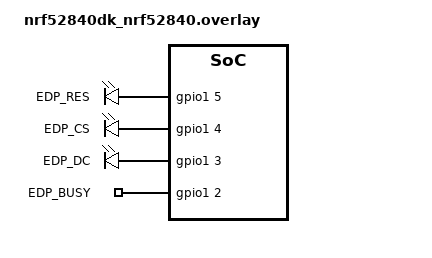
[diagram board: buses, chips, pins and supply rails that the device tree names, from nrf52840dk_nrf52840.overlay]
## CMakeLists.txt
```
#
# Copyright (c) 2021 Nordic Semiconductor ASA
#
# SPDX-License-Identifier: LicenseRef-Nordic-5-Clause
#

cmake_minimum_required(VERSION 3.20.0)

# Set Kconfig root files that will be processed as a first Kconfig for used child images.
set(mcuboot_KCONFIG_ROOT "\\\${ZEPHYR_CONNECTEDHOMEIP_MODULE_DIR}/config/nrfconnect/chip-module/Kconfig.mcuboot.root")
set(multiprotocol_rpmsg_KCONFIG_ROOT "\\\${ZEPHYR_CONNECTEDHOMEIP_MODULE_DIR}/config/nrfconnect/chip-module/Kconfig.multiprotocol_rpmsg.root")
set(hci_rpmsg_KCONFIG_ROOT "\\\${ZEPHYR_CONNECTEDHOMEIP_MODULE_DIR}/config/nrfconnect/chip-module/Kconfig.hci_rpmsg.root")

# For prj.conf the CONF_FILE is empty. In other case extract the exact file name from the path string.
if(CONF_FILE)
    get_filename_component(CONFIG_FILE_NAME ${CONF_FILE} NAME)
endif()

if(NOT "${CONFIG_FILE_NAME}" STREQUAL "prj_no_dfu.conf")
    set(PM_STATIC_YML_FILE ${CMAKE_CURRENT_SOURCE_DIR}/configuration/${BOARD}/pm_static_dfu.yml)
endif()

find_package(Zephyr HINTS $ENV{ZEPHYR_BASE})

project(matter_co2sensor)

set(COMMON_ROOT ${ZEPHYR_NRF_MODULE_DIR}/samples/matter/common)
set(NLIO_ROOT ${ZEPHYR_CONNECTEDHOMEIP_MODULE_DIR}/third_party/nlio/repo)
include(${ZEPHYR_CONNECTEDHOMEIP_MODULE_DIR}/config/nrfconnect/app/enable-gnu-std.cmake)
include(${ZEPHYR_CONNECTEDHOMEIP_MODULE_DIR}/src/app/chip_data_model.cmake)

# NORDIC SDK APP START
target_include_directories(app PRIVATE
    src
    ${COMMON_ROOT}/src
    ${NLIO_ROOT}/include
    ${ZEPHYR_CONNECTEDHOMEIP_MODULE_DIR}/zzz_generated/app-common
)

target_sources(app PRIVATE
    src/app_task.cpp
    src/main.cpp
    src/zap-generated/IMClusterCommandHandler.cpp
    src/zap-generated/callback-stub.cpp
    src/scd40.cpp
    src/fram.cpp
    src/EPD/hV_Board.cpp
    src/EPD/hV_Colours565.cpp
    src/EPD/hV_Font_Terminal.cpp
    src/EPD/hV_Screen_Buffer.cpp
    src/EPD/hV_Utilities_Common.cpp
    src/EPD/hV_Utilities_PDLS.cpp
    src/EPD/Screen_EPD_EXT3.cpp
    src/EPD/Arduino_Own.cpp
    ${COMMON_ROOT}/src/led_widget.cpp
)

if(CONFIG_CHIP_OTA_REQUESTOR)
    target_sources(app PRIVATE ${COMMON_ROOT}/src/ota_util.cpp)
endif()

chip_configure_data_model(app
    INCLUDE_SERVER
    BYPASS_IDL
    GEN_DIR src/zap-generated
    ZAP_FILE ${CMAKE_CURRENT_SOURCE_DIR}/src/template.zap
)
# NORDIC SDK APP END
```

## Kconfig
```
#
# Copyright (c) 2022 Nordic Semiconductor
#
# SPDX-License-Identifier: LicenseRef-Nordic-5-Clause
#
mainmenu "Matter nRF Connect Template Example Application"

# Sample configuration used for Thread networking
if NET_L2_OPENTHREAD

choice OPENTHREAD_NORDIC_LIBRARY_CONFIGURATION
	default OPENTHREAD_NORDIC_LIBRARY_MTD
endchoice

choice OPENTHREAD_DEVICE_TYPE
	default OPENTHREAD_MTD
endchoice

endif # NET_L2_OPENTHREAD

source "${ZEPHYR_CONNECTEDHOMEIP_MODULE_DIR}/config/nrfconnect/chip-module/Kconfig.features"
source "${ZEPHYR_CONNECTEDHOMEIP_MODULE_DIR}/config/nrfconnect/chip-module/Kconfig.defaults"
source "Kconfig.zephyr"
```

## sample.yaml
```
sample:
  description: Matter Template sample
  name: Matter Template
tests:
  sample.matter.template.debug:
    build_only: true
    integration_platforms:
      - nrf52840dk_nrf52840
      - nrf5340dk_nrf5340_cpuapp
      - nrf7002dk_nrf5340_cpuapp
    platform_allow: nrf52840dk_nrf52840 nrf5340dk_nrf5340_cpuapp nrf7002dk_nrf5340_cpuapp
  sample.matter.template.release:
    build_only: true
    extra_args: CONF_FILE=prj_release.conf
    integration_platforms:
      - nrf52840dk_nrf52840
      - nrf5340dk_nrf5340_cpuapp
      - nrf7002dk_nrf5340_cpuapp
    platform_allow: nrf52840dk_nrf52840 nrf5340dk_nrf5340_cpuapp nrf7002dk_nrf5340_cpuapp
```

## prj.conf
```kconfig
#
# Copyright (c) 2021 Nordic Semiconductor ASA
#
# SPDX-License-Identifier: LicenseRef-Nordic-5-Clause
#

# This sample uses Kconfig.defaults to set options common for all
# samples. This file should contain only options specific for this sample
# or overrides of default values.

# Enable CHIP
CONFIG_CHIP=y
CONFIG_CHIP_ENABLE_PAIRING_AUTOSTART=y
CONFIG_CHIP_PROJECT_CONFIG="src/chip_project_config.h"
# 32768 == 0x8000 (example Product ID added temporaly,
# but it must be changed with proper PID from the list:
# https://github.com/project-chip/connectedhomeip/blob/482e6fd03196a6de45465a90003947ef4b86e0b1/docs/examples/discussion/PID_allocation_for_example_apps.md)
CONFIG_CHIP_DEVICE_PRODUCT_ID=32768
CONFIG_STD_CPP14=y

# Add support for LEDs and buttons on Nordic development kits
CONFIG_DK_LIBRARY=y

# Bluetooth Low Energy configuration
CONFIG_BT_DEVICE_NAME="MatterTemplate"

# Other settings
CONFIG_THREAD_NAME=y
CONFIG_MPU_STACK_GUARD=y
CONFIG_RESET_ON_FATAL_ERROR=n
CONFIG_CHIP_LIB_SHELL=y

# Disable NFC commissioning
CONFIG_CHIP_NFC_COMMISSIONING=n

# Reduce application size
CONFIG_USE_SEGGER_RTT=n

# Enable Factory Data feature
CONFIG_CHIP_FACTORY_DATA=y
CONFIG_CHIP_FACTORY_DATA_BUILD=y
CONFIG_CPLUSPLUS=y
CONFIG_LIB_CPLUSPLUS=y
CONFIG_NEWLIB_LIBC=y
CONFIG_I2C=y
CONFIG_SPI=y
CONFIG_GPIO=y
```

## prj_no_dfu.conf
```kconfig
#
# Copyright (c) 2021 Nordic Semiconductor ASA
#
# SPDX-License-Identifier: LicenseRef-Nordic-5-Clause
#

# This sample uses Kconfig.defaults to set options common for all
# samples. This file should contain only options specific for this sample
# or overrides of default values.

# Enable CHIP
CONFIG_CHIP=y
CONFIG_CHIP_ENABLE_PAIRING_AUTOSTART=y
CONFIG_CHIP_PROJECT_CONFIG="src/chip_project_config.h"
# 32768 == 0x8000 (example Product ID added temporaly,
# but it must be changed with proper PID from the list:
# https://github.com/project-chip/connectedhomeip/blob/482e6fd03196a6de45465a90003947ef4b86e0b1/docs/examples/discussion/PID_allocation_for_example_apps.md)
CONFIG_CHIP_DEVICE_PRODUCT_ID=32768
CONFIG_STD_CPP14=y

# Add support for LEDs and buttons on Nordic development kits
CONFIG_DK_LIBRARY=y

# Bluetooth Low Energy configuration
CONFIG_BT_DEVICE_NAME="MatterTemplate"

# Other settings
CONFIG_THREAD_NAME=y
CONFIG_MPU_STACK_GUARD=y
CONFIG_RESET_ON_FATAL_ERROR=n
CONFIG_CHIP_LIB_SHELL=y

# Disable NFC commissioning
CONFIG_CHIP_NFC_COMMISSIONING=n

# Disable Matter OTA DFU
CONFIG_CHIP_OTA_REQUESTOR=n

# Disable QSPI NOR
CONFIG_CHIP_QSPI_NOR=n

# Reduce application size
CONFIG_USE_SEGGER_RTT=n
```

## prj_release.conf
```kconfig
#
# Copyright (c) 2021 Nordic Semiconductor ASA
#
# SPDX-License-Identifier: LicenseRef-Nordic-5-Clause
#

# This sample uses Kconfig.defaults to set options common for all
# samples. This file should contain only options specific for this sample
# or overrides of default values.

# Enable CHIP
CONFIG_CHIP=y
CONFIG_CHIP_ENABLE_PAIRING_AUTOSTART=y
CONFIG_CHIP_PROJECT_CONFIG="src/chip_project_config.h"
# 32768 == 0x8000 (example Product ID added temporaly,
# but it must be changed with proper PID from the list:
# https://github.com/project-chip/connectedhomeip/blob/482e6fd03196a6de45465a90003947ef4b86e0b1/docs/examples/discussion/PID_allocation_for_example_apps.md)
CONFIG_CHIP_DEVICE_PRODUCT_ID=32768
CONFIG_STD_CPP14=y

# Add support for LEDs and buttons on Nordic development kits
CONFIG_DK_LIBRARY=y

# Bluetooth Low Energy configuration
CONFIG_BT_DEVICE_NAME="MatterTemplate"

# Enable system reset on fatal error
CONFIG_RESET_ON_FATAL_ERROR=y

# Disable all debug features
CONFIG_USE_SEGGER_RTT=n
CONFIG_SHELL=n
CONFIG_OPENTHREAD_SHELL=n
CONFIG_CONSOLE=n
CONFIG_UART_CONSOLE=n
CONFIG_SERIAL=n
CONFIG_LOG=n
CONFIG_LOG_MODE_MINIMAL=n
CONFIG_ASSERT_VERBOSE=n
CONFIG_ASSERT_NO_FILE_INFO=y
CONFIG_PRINTK=n
CONFIG_PRINTK_SYNC=n
CONFIG_THREAD_NAME=n
CONFIG_BOOT_BANNER=n

# Disable NFC commissioning
CONFIG_CHIP_NFC_COMMISSIONING=n

# Enable Factory Data feature
CONFIG_CHIP_FACTORY_DATA=y
CONFIG_CHIP_FACTORY_DATA_BUILD=y
```

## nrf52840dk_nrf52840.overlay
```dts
// To get started, press Ctrl+Space to bring up the completion menu and view the available nodes.

// You can also use the buttons in the sidebar to perform actions on nodes.
// Actions currently available include:

// * Enabling / disabling the node
// * Adding the bus to a bus
// * Removing the node
// * Connecting ADC channels

// For more help, browse the DeviceTree documentation at https://docs.zephyrproject.org/latest/guides/dts/index.html
// You can also visit the nRF DeviceTree extension documentation at https://nrfconnect.github.io/vscode-nrf-connect/devicetree/nrfdevicetree.html
/ {
    aliases {
        respin = "/epd_out/res";
        cspin = "/epd_out/cs";
        dcpin = "/epd_out/dc";
        busypin = "/epd_in/busy";
    };
    epd_out {
        compatible = "gpio-leds";
        res {
            gpios = <&gpio1 5 GPIO_ACTIVE_HIGH>;
            label = "EDP_RES";
        };
        cs {
            gpios = <&gpio1 4 GPIO_ACTIVE_HIGH>;
            label = "EDP_CS";
        };
        dc {
            gpios = <&gpio1 3 GPIO_ACTIVE_HIGH>;
            label = "EDP_DC";
        };
    };

    epd_in {
        compatible = "gpio-keys";
        busy {
            gpios = <&gpio1 2 GPIO_ACTIVE_HIGH>;
            label = "EDP_BUSY";
        };
    };
};
&spi1_sleep {
    group1 {
        psels = <NRF_PSEL(SPIM_MISO, 1, 8)>;
    };
};
```

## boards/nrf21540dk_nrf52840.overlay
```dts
/* Copyright (c) 2021 Nordic Semiconductor ASA
 *
 * SPDX-License-Identifier: LicenseRef-Nordic-5-Clause
 */

/ {
	/*
	* In some default configurations within the nRF Connect SDK,
	* e.g. on nRF52840, the chosen zephyr,entropy node is &cryptocell.
	* This devicetree overlay ensures that default is overridden wherever it
	* is set, as this application uses the RNG node for entropy exclusively.
	*/
	chosen {
		zephyr,entropy = &rng;
	};
};
```

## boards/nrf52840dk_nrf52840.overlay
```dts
/* Copyright (c) 2021 Nordic Semiconductor ASA
 *
 * SPDX-License-Identifier: LicenseRef-Nordic-5-Clause
 */

/ {
	chosen {
		nordic,pm-ext-flash = &mx25r64;
	};
};


/ {
	/*
	* In some default configurations within the nRF Connect SDK,
	* e.g. on nRF52840, the chosen zephyr,entropy node is &cryptocell.
	* This devicetree overlay ensures that default is overridden wherever it
	* is set, as this application uses the RNG node for entropy exclusively.
	*/
	chosen {
		zephyr,entropy = &rng;
	};
};

/* Disable unused peripherals to reduce power consumption */
&adc {
	status = "disabled";
};
&uart1 {
	status = "disabled";
};
&pwm0 {
	status = "disabled";
};
&spi3 {
	status = "disabled";
};
&usbd {
	status = "disabled";
};

/ {
    aliases {
        respin = "/epd_out/res";
        cspin = "/epd_out/cs";
        dcpin = "/epd_out/dc";
        busypin = "/epd_in/busy";
    };
    epd_out {
        compatible = "gpio-leds";
        res {
            gpios = <&gpio1 5 GPIO_ACTIVE_HIGH>;
            label = "EDP_RES";
        };
        cs {
            gpios = <&gpio1 4 GPIO_ACTIVE_HIGH>;
            label = "EDP_CS";
        };
        dc {
            gpios = <&gpio1 3 GPIO_ACTIVE_HIGH>;
            label = "EDP_DC";
        };
    };

    epd_in {
        compatible = "gpio-keys";
        busy {
            gpios = <&gpio1 2 GPIO_ACTIVE_HIGH>;
            label = "EDP_BUSY";
        };
    };
};
&spi1_sleep {
    group1 {
        psels = <NRF_PSEL(SPIM_MISO, 1, 8)>;
    };
};
```

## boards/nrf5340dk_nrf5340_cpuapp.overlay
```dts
/*
 * Copyright (c) 2021 Nordic Semiconductor ASA
 *
 * SPDX-License-Identifier: LicenseRef-Nordic-5-Clause
 */

#include <zephyr/dt-bindings/ipc_service/static_vrings.h>

/ {
	chosen {
		nordic,pm-ext-flash = &mx25r64;
	};
};

/* Set IPC thread priority to the highest value to not collide with other threads. */
&ipc0 {
    zephyr,priority = <0 PRIO_COOP>;
};

/* Disable unused peripherals to reduce power consumption */
&adc {
	status = "disabled";
};
&i2c1 {
	status = "disabled";
};
&pwm0 {
	status = "disabled";
};
&spi2 {
	status = "disabled";
};
&usbd {
	status = "disabled";
};
```

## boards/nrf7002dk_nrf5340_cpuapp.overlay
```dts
/*
 * Copyright (c) 2021 Nordic Semiconductor ASA
 *
 * SPDX-License-Identifier: LicenseRef-Nordic-5-Clause
 */

#include <zephyr/dt-bindings/ipc_service/static_vrings.h>

/ {
	chosen {
		nordic,pm-ext-flash = &mx25r64;
	};
};

/* Set IPC thread priority to the highest value to not collide with other threads. */
&ipc0 {
    zephyr,priority = <0 PRIO_COOP>;
};
```

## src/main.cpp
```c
/*
 * Copyright (c) 2021 Nordic Semiconductor ASA
 *
 * SPDX-License-Identifier: LicenseRef-Nordic-5-Clause
 */

#include "app_task.h"

#include <zephyr/logging/log.h>

LOG_MODULE_REGISTER(app, CONFIG_CHIP_APP_LOG_LEVEL);

int main()
{
	CHIP_ERROR err = AppTask::Instance().StartApp();

	LOG_ERR("Exited with code %" CHIP_ERROR_FORMAT, err.Format());
	return err == CHIP_NO_ERROR ? EXIT_SUCCESS : EXIT_FAILURE;
}
```

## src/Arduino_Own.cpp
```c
#include "Arduino_Own.h"

int16_t Arduino_Own::abs(int16_t a) {
    if(a < 0) {
        return -a;
    } else {
        return a;
    }
}

long Arduino_Own::map(long x, long in_min, long in_max, long out_min, long out_max) {
    return (x - in_min) * (out_max - out_min) / (in_max - in_min) + out_min;
}

uint8_t Arduino_Own::bitClear(uint8_t& value, uint8_t bit) {
   	value &= ~(1UL << (bit));
    return value;
}

uint8_t Arduino_Own::bitSet(uint8_t& value, uint8_t bit) {
   	value |= (1UL << (bit));
    return value;
}

uint8_t Arduino_Own::bitRead(uint8_t value, uint8_t bit) {
   	value = (value >> bit) & 0x01;
    return value;
}

char* Arduino_Own::substring(const char* str, uint8_t start, uint8_t end) {
    if(str == nullptr || start < 0 || end < start) {
        return nullptr;
    }
    
    int strLength = strlen(str);

    if(end >= strLength) {
        end = strLength - 1;
    }

    int substringLength = end - start + 1;

    if(substringLength <= 0) {
        return nullptr;
    }

    char* result = new char[substringLength + 1];

    for(int i = 0; i < substringLength; i++) {
        result[i] = str[start + i];
    }

    result[substringLength] = '\0';

    return result;
}
```

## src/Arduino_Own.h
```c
#pragma once
#include <stdint.h>
#include <stdlib.h>
#include <stdio.h>
#include <string.h>
#include <ctype.h>


class Arduino_Own {
public:
	int16_t abs(int16_t a);
	long map(int32_t a, int32_t b, int32_t c, int32_t d, int32_t e);
	uint8_t bitClear(uint8_t a, uint8_t b);
	uint8_t bitSet(uint8_t a, uint8_t b);
	uint8_t bitRead(uint8_t a, uint8_t b);
	const char* substring(const char* str, uint8_t start, uint8_t end);
};
```

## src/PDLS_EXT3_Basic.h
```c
///
/// @file PDLS_EXT3_Basic.h
/// @brief Driver for Pervasive Displays iTC screens and EXT3 extension board
///
/// @details Project Pervasive Displays Library Suite
/// @n Based on highView technology
///
/// @author Rei Vilo
/// @date 21 Aug 2022
/// @version 613
///
/// @copyright (c) Rei Vilo, 2010-2023
/// @copyright All rights reserved
///
/// * Basic edition: for hobbyists and for basic usage
/// @n Creative Commons Attribution-ShareAlike 4.0 International (CC BY-SA 4.0)
///
/// * Evaluation edition: for professionals or organisations
/// @n All rights reserved, evaluation only, no commercial usage
///
/// * Commercial edition: for professionals or organisations, for commercial usage
/// @n All rights reserved
///

// SDK
//#include <Arduino.h>

#ifndef PDLS_EXT3_BASIC_RELEASE
///
/// @brief Library release number
///
#define PDLS_EXT3_BASIC_RELEASE 613
#include <zephyr/kernel.h>
#include "Screen_EPD_EXT3.h"
#endif // PDLS_EXT3_BASIC_RELEASE
```

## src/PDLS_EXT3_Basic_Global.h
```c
#pragma once
///
/// @file PDLS_EXT3_Basic_Global.h
/// @brief Driver for Pervasive Displays iTC screens and EXT3 extension board
///
/// @details Project Pervasive Displays Library Suite
/// @n Based on highView technology
///
/// @author Rei Vilo
/// @date 21 Aug 2022
/// @version 613
///
/// @copyright (c) Rei Vilo, 2010-2023
/// @copyright All rights reserved
///
/// * Basic edition: for hobbyists and for basic usage
/// @n Creative Commons Attribution-ShareAlike 4.0 International (CC BY-SA 4.0)
///
/// * Evaluation edition: for professionals or organisations
/// @n All rights reserved, evaluation only, no commercial usage
///
/// * Commercial edition: for professionals or organisations, for commercial usage
/// @n All rights reserved
///

// SDK

#ifndef PDLS_EXT3_BASIC_RELEASE
///
/// @brief Library release number
///
#define PDLS_EXT3_BASIC_RELEASE 613
#include "Screen_EPD_EXT3.h"
#endif // PDLS_EXT3_BASIC_RELEASE
```

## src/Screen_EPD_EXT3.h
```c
#pragma once
///
/// @file Screen_EPD_EXT3.h
/// @brief Driver for Pervasive Displays iTC monochrome and colour screens and EXT3 board
///
/// @details Project Pervasive Displays Library Suite
/// @n Based on highView technology
///
/// @n @b B-SML-G
/// * Edition: Basic
/// * Family: Small, Medium, Large
/// * Update: Global
/// * Feature: none
/// * Temperature: monochrome = 0 to 50 °C, red = 0 to 40 °C
///
/// @author Rei Vilo
/// @date 21 Nov 2023
/// @version 702
///
/// @copyright (c) Rei Vilo, 2010-2023
/// @copyright Creative Commons Attribution-ShareAlike 4.0 International (CC BY-SA 4.0)
///
/// The highView Library Suite is shared under the Creative Commons licence Attribution-ShareAlike 4.0 International (CC BY-SA 4.0).
///
/// * Basic edition: for hobbyists and for basic usage
/// @n Creative Commons Attribution-ShareAlike 4.0 International (CC BY-SA 4.0)
///
/// @see https://creativecommons.org/licenses/by-sa/4.0/
///
/// @n Consider the Evaluation or Commercial editions for professionals or organisations and for commercial usage
///

// SDK
#include "hV_HAL_Peripherals.h"

// Configuration
#include "hV_Configuration.h"

// Other libraries
#include "hV_Screen_Buffer.h"

// Board
#include "hV_Board.h"

// PDLS utilities
#include "hV_Utilities_PDLS.h"

// Checks
#if (hV_HAL_PERIPHERALS_RELEASE < 700)
#error Required hV_HAL_PERIPHERALS_RELEASE 700
#endif // hV_HAL_PERIPHERALS_RELEASE

#if (hV_CONFIGURATION_RELEASE < 702)
#error Required hV_CONFIGURATION_RELEASE 702
#endif // hV_CONFIGURATION_RELEASE

#if (hV_SCREEN_BUFFER_RELEASE < 700)
#error Required hV_SCREEN_BUFFER_RELEASE 700
#endif // hV_SCREEN_BUFFER_RELEASE

#if (hV_BOARD_RELEASE < 700)
#error Required hV_BOARD_RELEASE 700
#endif // hV_BOARD_RELEASE

#ifndef SCREEN_EPD_EXT3_RELEASE
///
/// @brief Library release number
///
#define SCREEN_EPD_EXT3_RELEASE 702

///
/// @brief Library variant
///
#define SCREEN_EPD_EXT3_VARIANT "Basic-Global"

// Other libraries
#include "hV_Screen_Buffer.h"

#if (hV_SCREEN_BUFFER_RELEASE < 700)
#error Required hV_SCREEN_BUFFER_RELEASE 700
#endif // hV_SCREEN_BUFFER_RELEASE

// Objects
//
///
/// @brief Class for Pervasive Displays iTC monochome and colour screens
/// @details Screen controllers
/// * LCD: proprietary, SPI
/// * touch: no touch
/// * fonts: no external Flash
///
/// @note All commands work on the frame-buffer,
/// to be displayed on screen with flush()
///
class Screen_EPD_EXT3 final : public hV_Screen_Buffer, public hV_Utilities_PDLS
{
  public:
    ///
    /// @brief Constructor with default pins
    /// @param eScreen_EPD_EXT3 size and model of the e-screen
    /// @param board board configuration
    /// @note Frame-buffer generated by the class
    /// @note To be used with begin() with no parameter
    ///
    Screen_EPD_EXT3(eScreen_EPD_EXT3_t eScreen_EPD_EXT3);

    ///
    /// @brief Initialisation
    /// @note Frame-buffer generated internally, not suitable for FRAM
    /// @warning begin() initialises SPI and I2C
    ///
    void begin();

    ///
    /// @brief Who Am I
    /// @return Who Am I string
    ///
    char* WhoAmI();

    ///
    /// @brief Clear the screen
    /// @param colour default = white
    /// @note Clear next frame-buffer
    ///
    void clear(uint16_t colour = myColours.white);

    ///
    /// @brief Update the display, global update
    /// @note Send the frame-buffer to the screen and refresh the screen
    ///
    void flush();

    ///
    /// @brief Regenerate the panel
    /// @details White-to-black-to-white cycle to reduce ghosting
    ///
    void regenerate();

    ///
    /// @brief Update the display
    /// @details Display next frame-buffer on screen and copy next frame-buffer into old frame-buffer
    /// @param updateMode expected update mode
    /// @return uint8_t recommended mode
    /// @note Mode checked with checkTemperatureMode()
    ///
    uint8_t flushMode(uint8_t updateMode = UPDATE_GLOBAL);

  protected:
    /// @cond

    // Orientation
    ///
    /// @brief Set orientation
    /// @param orientation 1..3, 6, 7
    ///
    void _setOrientation(uint8_t orientation); // compulsory

    ///
    /// @brief Check and orient coordinates, logical coordinates
    /// @param x x-axis coordinate, modified
    /// @param y y-axis coordinate, modified
    /// @return RESULT_SUCCESS = false = success, RESULT_ERROR = true = error
    ///
    bool _orientCoordinates(uint16_t & x, uint16_t & y); // compulsory

    // Write and Read
    /// @brief Set point
    /// @param x1 x coordinate
    /// @param y1 y coordinate
    /// @param colour 16-bit colour
    /// @n @b More: @ref Colour, @ref Coordinate
    ///
    void _setPoint(uint16_t x1, uint16_t y1, uint16_t colour);

    /// @brief Get point
    /// @param x1 x coordinate
    /// @param y1 y coordinate
    /// @return colour 16-bit colour
    /// @n @b More: @ref Colour, @ref Coordinate
    ///
    uint16_t _getPoint(uint16_t x1, uint16_t y1);

    // Position
    ///
    /// @brief Convert
    /// @param x1 x-axis coordinate
    /// @param y1 y-axis coordinate
    /// @return index for u_newImage[]
    ///
    uint32_t _getZ(uint16_t x1, uint16_t y1);

    ///
    /// @brief Convert
    /// @param x1 x-axis coordinate
    /// @param y1 y-axis coordinate
    /// @return bit for u_newImage[]
    ///
    uint16_t _getB(uint16_t x1, uint16_t y1);

    //
    // === Energy section
    //

    //
    // === End of Energy section
    //

    // * Other functions specific to the screen
    // * Flush
    void _flushGlobal();

    //
    // === Touch section
    //

    //
    // === End of Touch section
    //

    /// @endcond
};

#endif // SCREEN_EPD_EXT3_RELEASE
```

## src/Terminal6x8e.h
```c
#pragma once
///
/// @file Terminal6x8e.h
/// @brief Font Terminal 6 x 8
///
/// @details Project Pervasive Displays Library Suite
/// @n Based on highView technology
///
/// @author Rei Vilo
/// @date 02 Aug 2021
/// @version 507
///
/// @copyright (c) Rei Vilo, 2010-2023
/// @copyright All rights reserved
///
/// * Basic edition: for hobbyists and for basic usage
/// @n Creative Commons Attribution-ShareAlike 4.0 International (CC BY-SA 4.0)
///
/// * Evaluation edition: for professionals or organisations, evaluation only, no commercial usage
/// @n All rights reserved
///
/// * Commercial edition: for professionals or organisations, commercial usage
/// @n All rights reserved
///

//
// Terminal6e.h
// Font library
// ----------------------------------

#ifndef TERMINAL6E_FONT_RELEASE
///
/// @brief Release
///
#define TERMINAL6E_FONT_RELEASE 507

///
/// @brief Font Terminal6x8e
/// @details GLCD FontName : Terminal6x8e
/// @n GLCD FontSize : 6 x 8
///
/// @copyright Font generated manually
///
//#if defined(ENERGIA)
// unsigned char replaced by uint8_t
static const uint8_t Terminal6x8e[224][6] =
    //#elif defined(ARDUINO) || defined(MPIDE) || defined(WIRING)
    //static prog_uchar Terminal6x8e[224][6] PROGMEM =
    //#endif
{
    0x00, 0x00, 0x00, 0x00, 0x00, 0x00,
    0x00, 0x00, 0x06, 0x5F, 0x06, 0x00,
    0x00, 0x07, 0x03, 0x00, 0x07, 0x03,
    0x00, 0x24, 0x7E, 0x24, 0x7E, 0x24,
    0x00, 0x24, 0x2B, 0x6A, 0x12, 0x00,
    0x00, 0x63, 0x13, 0x08, 0x64, 0x63,
    0x00, 0x36, 0x49, 0x56, 0x20, 0x50,
    0x00, 0x00, 0x07, 0x03, 0x00, 0x00,
    0x00, 0x00, 0x3E, 0x41, 0x00, 0x00,
    0x00, 0x00, 0x41, 0x3E, 0x00, 0x00,
    0x00, 0x08, 0x3E, 0x1C, 0x3E, 0x08,
    0x00, 0x08, 0x08, 0x3E, 0x08, 0x08,
    0x00, 0x00, 0xE0, 0x60, 0x00, 0x00,
    0x00, 0x08, 0x08, 0x08, 0x08, 0x08,
    0x00, 0x00, 0x60, 0x60, 0x00, 0x00,
    0x00, 0x20, 0x10, 0x08, 0x04, 0x02,
    0x00, 0x3E, 0x51, 0x49, 0x45, 0x3E,
    0x00, 0x00, 0x42, 0x7F, 0x40, 0x00,
    0x00, 0x62, 0x51, 0x49, 0x49, 0x46,
    0x00, 0x22, 0x49, 0x49, 0x49, 0x36,
    0x00, 0x18, 0x14, 0x12, 0x7F, 0x10,
    0x00, 0x2F, 0x49, 0x49, 0x49, 0x31,
    0x00, 0x3C, 0x4A, 0x49, 0x49, 0x30,
    0x00, 0x01, 0x71, 0x09, 0x05, 0x03,
    0x00, 0x36, 0x49, 0x49, 0x49, 0x36,
    0x00, 0x06, 0x49, 0x49, 0x29, 0x1E,
    0x00, 0x00, 0x6C, 0x6C, 0x00, 0x00,
    0x00, 0x00, 0xEC, 0x6C, 0x00, 0x00,
    0x00, 0x08, 0x14, 0x22, 0x41, 0x00,
    0x00, 0x24, 0x24, 0x24, 0x24, 0x24,
    0x00, 0x00, 0x41, 0x22, 0x14, 0x08,
    0x00, 0x02, 0x01, 0x59, 0x09, 0x06,
    0x00, 0x3E, 0x41, 0x5D, 0x55, 0x1E,
    0x00, 0x7E, 0x11, 0x11, 0x11, 0x7E,
    0x00, 0x7F, 0x49, 0x49, 0x49, 0x36,
    0x00, 0x3E, 0x41, 0x41, 0x41, 0x22,
    0x00, 0x7F, 0x41, 0x41, 0x41, 0x3E,
    0x00, 0x7F, 0x49, 0x49, 0x49, 0x41,
    0x00, 0x7F, 0x09, 0x09, 0x09, 0x01,
    0x00, 0x3E, 0x41, 0x49, 0x49, 0x7A,
    0x00, 0x7F, 0x08, 0x08, 0x08, 0x7F,
    0x00, 0x00, 0x41, 0x7F, 0x41, 0x00,
    0x00, 0x30, 0x40, 0x40, 0x40, 0x3F,
    0x00, 0x7F, 0x08, 0x14, 0x22, 0x41,
    0x00, 0x7F, 0x40, 0x40, 0x40, 0x40,
    0x00, 0x7F, 0x02, 0x04, 0x02, 0x7F,
    0x00, 0x7F, 0x02, 0x04, 0x08, 0x7F,
    0x00, 0x3E, 0x41, 0x41, 0x41, 0x3E,
    0x00, 0x7F, 0x09, 0x09, 0x09, 0x06,
    0x00, 0x3E, 0x41, 0x51, 0x21, 0x5E,
    0x00, 0x7F, 0x09, 0x09, 0x19, 0x66,
    0x00, 0x26, 0x49, 0x49, 0x49, 0x32,
    0x00, 0x01, 0x01, 0x7F, 0x01, 0x01,
    0x00, 0x3F, 0x40, 0x40, 0x40, 0x3F,
    0x00, 0x1F, 0x20, 0x40, 0x20, 0x1F,
    0x00, 0x3F, 0x40, 0x3C, 0x40, 0x3F,
    0x00, 0x63, 0x14, 0x08, 0x14, 0x63,
    0x00, 0x07, 0x08, 0x70, 0x08, 0x07,
    0x00, 0x71, 0x49, 0x45, 0x43, 0x00,
    0x00, 0x00, 0x7F, 0x41, 0x41, 0x00,
    0x00, 0x02, 0x04, 0x08, 0x10, 0x20,
    0x00, 0x00, 0x41, 0x41, 0x7F, 0x00,
    0x00, 0x04, 0x02, 0x01, 0x02, 0x04,
    0x80, 0x80, 0x80, 0x80, 0x80, 0x80,
    0x00, 0x00, 0x03, 0x07, 0x00, 0x00,
    0x00, 0x20, 0x54, 0x54, 0x54, 0x78,
    0x00, 0x7F, 0x44, 0x44, 0x44, 0x38,
    0x00, 0x38, 0x44, 0x44, 0x44, 0x28,
    0x00, 0x38, 0x44, 0x44, 0x44, 0x7F,
    0x00, 0x38, 0x54, 0x54, 0x54, 0x08,
    0x00, 0x08, 0x7E, 0x09, 0x09, 0x00,
    0x00, 0x18, 0xA4, 0xA4, 0xA4, 0x7C,
    0x00, 0x7F, 0x04, 0x04, 0x78, 0x00,
    0x00, 0x00, 0x00, 0x7D, 0x40, 0x00,
    0x00, 0x40, 0x80, 0x84, 0x7D, 0x00,
    0x00, 0x7F, 0x10, 0x28, 0x44, 0x00,
    0x00, 0x00, 0x00, 0x7F, 0x40, 0x00,
    0x00, 0x7C, 0x04, 0x18, 0x04, 0x78,
    0x00, 0x7C, 0x04, 0x04, 0x78, 0x00,
    0x00, 0x38, 0x44, 0x44, 0x44, 0x38,
    0x00, 0xFC, 0x44, 0x44, 0x44, 0x38,
    0x00, 0x38, 0x44, 0x44, 0x44, 0xFC,
    0x00, 0x44, 0x78, 0x44, 0x04, 0x08,
    0x00, 0x08, 0x54, 0x54, 0x54, 0x20,
    0x00, 0x04, 0x3E, 0x44, 0x24, 0x00,
    0x00, 0x3C, 0x40, 0x20, 0x7C, 0x00,
    0x00, 0x1C, 0x20, 0x40, 0x20, 0x1C,
    0x00, 0x3C, 0x60, 0x30, 0x60, 0x3C,
    0x00, 0x6C, 0x10, 0x10, 0x6C, 0x00,
    0x00, 0x9C, 0xA0, 0x60, 0x3C, 0x00,
    0x00, 0x64, 0x54, 0x54, 0x4C, 0x00,
    0x00, 0x08, 0x3E, 0x41, 0x41, 0x00,
    0x00, 0x00, 0x00, 0x77, 0x00, 0x00,
    0x00, 0x00, 0x41, 0x41, 0x3E, 0x08,
    0x00, 0x02, 0x01, 0x02, 0x01, 0x00,
    0x00, 0x3C, 0x26, 0x23, 0x26, 0x3C,
    0x00, 0x14, 0x3E, 0x55, 0x41, 0x21,
    0x00, 0x00, 0x00, 0x00, 0x00, 0x00,
    0x00, 0x00, 0xE0, 0x60, 0x00, 0x00,
    0x00, 0x40, 0x34, 0x0E, 0x05, 0x00,
    0x00, 0xE0, 0x60, 0x00, 0xE0, 0x60,
    0x00, 0x40, 0x00, 0x40, 0x00, 0x40,
    0x00, 0x00, 0x02, 0x3F, 0x02, 0x00,
    0x00, 0x00, 0x12, 0x3F, 0x12, 0x00,
    0x00, 0x00, 0x02, 0x01, 0x02, 0x00,
    0x00, 0x63, 0x13, 0x48, 0x04, 0x43,
    0x00, 0x4C, 0x55, 0x56, 0x55, 0x64,
    0x00, 0x00, 0x08, 0x14, 0x00, 0x00,
    0x00, 0x3E, 0x41, 0x7F, 0x49, 0x41,
    0x00, 0x00, 0x00, 0x00, 0x00, 0x00,
    0x00, 0x64, 0x55, 0x56, 0x4D, 0x00,
    0x00, 0x00, 0x00, 0x00, 0x00, 0x00,
    0x00, 0x00, 0x00, 0x00, 0x00, 0x00,
    0x00, 0x00, 0x06, 0x07, 0x00, 0x00,
    0x00, 0x00, 0x07, 0x03, 0x00, 0x00,
    0x00, 0x07, 0x06, 0x00, 0x07, 0x06,
    0x00, 0x03, 0x07, 0x00, 0x03, 0x07,
    0x00, 0x00, 0x18, 0x18, 0x00, 0x00,
    0x00, 0x08, 0x08, 0x08, 0x00, 0x00,
    0x00, 0x08, 0x08, 0x08, 0x08, 0x08,
    0x00, 0x10, 0x08, 0x10, 0x08, 0x00,
    0x01, 0x07, 0x01, 0x07, 0x01, 0x07,
    0x00, 0x08, 0x55, 0x56, 0x55, 0x20,
    0x00, 0x00, 0x14, 0x08, 0x00, 0x00,
    0x00, 0x38, 0x44, 0x38, 0x54, 0x48,
    0x00, 0x00, 0x00, 0x00, 0x00, 0x00,
    0x00, 0x64, 0x55, 0x56, 0x4D, 0x00,
    0x00, 0x04, 0x09, 0x70, 0x09, 0x04,
    0x00, 0x00, 0x00, 0x00, 0x00, 0x00,
    0x00, 0x00, 0x60, 0xFA, 0x60, 0x00,
    0x00, 0x18, 0x24, 0x66, 0x24, 0x00,
    0x00, 0x48, 0x3E, 0x49, 0x41, 0x22,
    0x00, 0x5D, 0x22, 0x22, 0x22, 0x5D,
    0x00, 0x29, 0x2A, 0x7C, 0x2A, 0x29,
    0x00, 0x00, 0x00, 0x77, 0x00, 0x00,
    0x00, 0x26, 0x4D, 0x55, 0x59, 0x32,
    0x00, 0x00, 0x02, 0x00, 0x02, 0x00,
    0x3E, 0x41, 0x5D, 0x55, 0x41, 0x3E,
    0x00, 0x08, 0x55, 0x55, 0x55, 0x5E,
    0x00, 0x08, 0x14, 0x00, 0x08, 0x14,
    0x00, 0x04, 0x04, 0x04, 0x04, 0x1C,
    0x00, 0x00, 0x30, 0x7D, 0x30, 0x00,
    0x3E, 0x41, 0x5D, 0x4B, 0x55, 0x3E,
    0x01, 0x01, 0x01, 0x01, 0x01, 0x01,
    0x00, 0x4E, 0x51, 0x51, 0x4E, 0x00,
    0x00, 0x00, 0x24, 0x2E, 0x24, 0x00,
    0x00, 0x09, 0x0D, 0x0A, 0x00, 0x00,
    0x00, 0x09, 0x0F, 0x05, 0x00, 0x00,
    0x00, 0x00, 0x00, 0x01, 0x01, 0x00,
    0x00, 0xFC, 0x20, 0x20, 0x1C, 0x00,
    0x00, 0x06, 0x09, 0x7F, 0x01, 0x7F,
    0x00, 0x00, 0x08, 0x00, 0x00, 0x00,
    0x00, 0x00, 0x80, 0xC0, 0x40, 0x00,
    0x00, 0x02, 0x0F, 0x00, 0x00, 0x00,
    0x00, 0x06, 0x09, 0x09, 0x06, 0x00,
    0x00, 0x14, 0x08, 0x00, 0x14, 0x08,
    0x00, 0x17, 0x08, 0x34, 0x2A, 0x78,
    0x00, 0x17, 0x08, 0x4C, 0x6A, 0x50,
    0x05, 0x17, 0x0A, 0x34, 0x2A, 0x79,
    0x00, 0x30, 0x48, 0x4D, 0x40, 0x20,
    0x00, 0x70, 0x29, 0x25, 0x28, 0x70,
    0x00, 0x70, 0x28, 0x25, 0x29, 0x70,
    0x00, 0x70, 0x29, 0x25, 0x29, 0x70,
    0x00, 0x70, 0x2A, 0x25, 0x2A, 0x71,
    0x00, 0x70, 0x29, 0x24, 0x29, 0x70,
    0x00, 0x70, 0x2A, 0x2D, 0x2A, 0x70,
    0x00, 0x7E, 0x11, 0x7F, 0x49, 0x41,
    0x00, 0x1E, 0xA1, 0xE1, 0x61, 0x12,
    0x00, 0x7C, 0x55, 0x55, 0x54, 0x44,
    0x00, 0x7C, 0x54, 0x55, 0x55, 0x44,
    0x00, 0x7C, 0x55, 0x55, 0x55, 0x44,
    0x00, 0x7C, 0x55, 0x54, 0x55, 0x44,
    0x00, 0x00, 0x45, 0x7D, 0x44, 0x00,
    0x00, 0x00, 0x44, 0x7D, 0x45, 0x00,
    0x00, 0x00, 0x45, 0x7D, 0x45, 0x00,
    0x00, 0x00, 0x45, 0x7C, 0x45, 0x00,
    0x00, 0x08, 0x7F, 0x49, 0x41, 0x3E,
    0x00, 0x7A, 0x11, 0x22, 0x79, 0x00,
    0x00, 0x3D, 0x43, 0x42, 0x3C, 0x00,
    0x00, 0x3C, 0x42, 0x43, 0x3D, 0x00,
    0x00, 0x3C, 0x43, 0x43, 0x3D, 0x00,
    0x00, 0x3E, 0x45, 0x42, 0x3D, 0x00,
    0x00, 0x3C, 0x42, 0x43, 0x3D, 0x00,
    0x00, 0x00, 0x28, 0x10, 0x28, 0x00,
    0x00, 0x7E, 0x61, 0x5D, 0x43, 0x3F,
    0x00, 0x3C, 0x40, 0x41, 0x3D, 0x00,
    0x00, 0x3D, 0x41, 0x40, 0x3C, 0x00,
    0x00, 0x3C, 0x41, 0x41, 0x3D, 0x00,
    0x00, 0x3C, 0x41, 0x40, 0x3D, 0x00,
    0x00, 0x04, 0x08, 0x71, 0x09, 0x04,
    0x00, 0xFE, 0xAA, 0x28, 0x10, 0x00,
    0x00, 0xFE, 0x4A, 0x4A, 0x34, 0x00,
    0x00, 0x20, 0x55, 0x55, 0x54, 0x78,
    0x00, 0x20, 0x54, 0x54, 0x55, 0x79,
    0x00, 0x20, 0x55, 0x55, 0x55, 0x78,
    0x00, 0x20, 0x56, 0x55, 0x56, 0x7D,
    0x00, 0x20, 0x55, 0x54, 0x55, 0x78,
    0x00, 0x20, 0x57, 0x55, 0x57, 0x7C,
    0x00, 0xFC, 0x20, 0x20, 0x1C, 0x00,
    0x00, 0x38, 0xC4, 0xC4, 0x44, 0x28,
    0x00, 0x39, 0x55, 0x54, 0x08, 0x00,
    0x00, 0x38, 0x54, 0x55, 0x09, 0x00,
    0x00, 0x38, 0x55, 0x55, 0x09, 0x00,
    0x00, 0x38, 0x55, 0x54, 0x09, 0x00,
    0x00, 0x00, 0x01, 0x7D, 0x40, 0x00,
    0x00, 0x00, 0x00, 0x7D, 0x41, 0x00,
    0x00, 0x00, 0x01, 0x7D, 0x41, 0x00,
    0x00, 0x00, 0x01, 0x7C, 0x41, 0x00,
    0x00, 0x39, 0x47, 0x45, 0x46, 0x3D,
    0x00, 0x7A, 0x09, 0x0A, 0x71, 0x00,
    0x00, 0x39, 0x45, 0x44, 0x38, 0x00,
    0x00, 0x38, 0x44, 0x45, 0x39, 0x00,
    0x00, 0x38, 0x45, 0x45, 0x39, 0x00,
    0x00, 0x3A, 0x45, 0x46, 0x39, 0x00,
    0x00, 0x38, 0x45, 0x44, 0x39, 0x00,
    0x00, 0x08, 0x08, 0x2A, 0x08, 0x08,
    0x00, 0x58, 0x24, 0x54, 0x48, 0x34,
    0x00, 0x3D, 0x41, 0x20, 0x7C, 0x00,
    0x00, 0x3C, 0x40, 0x21, 0x7D, 0x00,
    0x00, 0x3C, 0x41, 0x21, 0x7D, 0x00,
    0x00, 0x3C, 0x41, 0x20, 0x7D, 0x00,
    0x00, 0x9C, 0xA0, 0x61, 0x3D, 0x00,
    0x00, 0xFF, 0xA5, 0x24, 0x18, 0x00,
    0x00, 0x9C, 0xA1, 0x60, 0x3D, 0x00
};

#endif
```

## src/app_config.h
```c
/*
 * Copyright (c) 2022 Nordic Semiconductor ASA
 *
 * SPDX-License-Identifier: LicenseRef-Nordic-5-Clause
 */

#pragma once

/* ---- Template App Config ---- */

#include "board_util.h"

#define FUNCTION_BUTTON DK_BTN1
#define FUNCTION_BUTTON_MASK DK_BTN1_MSK

#define LIGHT_SWITCH_BUTTON DK_BTN2
#define LIGHT_SWITCH_BUTTON_MASK DK_BTN2_MSK

#define SYSTEM_STATE_LED DK_LED1
#define FACTORY_RESET_SIGNAL_LED DK_LED2

#if NUMBER_OF_LEDS == 4
#define FACTORY_RESET_SIGNAL_LED1 DK_LED3
#define FACTORY_RESET_SIGNAL_LED2 DK_LED4
#endif
```

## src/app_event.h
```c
/*
 * Copyright (c) 2021 Nordic Semiconductor ASA
 *
 * SPDX-License-Identifier: LicenseRef-Nordic-5-Clause
 */

#pragma once

#include <cstdint>

#include "event_types.h"

class LEDWidget;

enum class AppEventType : uint8_t { 
	None = 0, 
	Button, 
	ButtonPushed, 
	ButtonReleased, 
	Timer, 
	UpdateLedState,
	SensorActivate,
	SensorDeactivate,
	SensorMeasure,
	LightSwitchEvent };

enum class FunctionEvent : uint8_t { NoneSelected = 0, FactoryReset };

struct AppEvent {
	union {
		struct {
			uint8_t PinNo;
			uint8_t Action;
		} ButtonEvent;
		struct {
			void *Context;
		} TimerEvent;
		struct {
			LEDWidget *LedWidget;
		} UpdateLedStateEvent;
	};

	AppEventType Type{ AppEventType::None };
	EventHandler Handler;
};
```

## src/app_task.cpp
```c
/*
 * Copyright (c) 2021 Nordic Semiconductor ASA
 *
 * SPDX-License-Identifier: LicenseRef-Nordic-5-Clause
 */

#include "app_task.h"
#include "app_config.h"
#include "fabric_table_delegate.h"
#include "led_util.h"

#include <platform/CHIPDeviceLayer.h>

#include "board_util.h"
#include <app/server/OnboardingCodesUtil.h>
#include <app/server/Server.h>
#include <credentials/DeviceAttestationCredsProvider.h>
#include <credentials/examples/DeviceAttestationCredsExample.h>
#include <lib/support/CHIPMem.h>
#include <lib/support/CodeUtils.h>
#include <system/SystemError.h>

#ifdef CONFIG_CHIP_WIFI
#include <app/clusters/network-commissioning/network-commissioning.h>
#include <platform/nrfconnect/wifi/NrfWiFiDriver.h>
#endif

#ifdef CONFIG_CHIP_OTA_REQUESTOR
#include "ota_util.h"
#endif

#include <dk_buttons_and_leds.h>
#include <zephyr/kernel.h>
#include <zephyr/logging/log.h>
#include <app-common/zap-generated/attributes/Accessors.h>

LOG_MODULE_DECLARE(app, CONFIG_CHIP_APP_LOG_LEVEL);

using namespace ::chip;
using namespace ::chip::app;
using namespace ::chip::Credentials;
using namespace ::chip::DeviceLayer;

namespace
{
constexpr size_t kAppEventQueueSize = 10;
constexpr uint32_t kFactoryResetTriggerTimeout = 6000;

K_MSGQ_DEFINE(sAppEventQueue, sizeof(AppEvent), kAppEventQueueSize, alignof(AppEvent));
k_timer sFunctionTimer;

LEDWidget sStatusLED;
#if NUMBER_OF_LEDS == 2
FactoryResetLEDsWrapper<1> sFactoryResetLEDs{ { FACTORY_RESET_SIGNAL_LED } };
#else
FactoryResetLEDsWrapper<3> sFactoryResetLEDs{ { FACTORY_RESET_SIGNAL_LED, FACTORY_RESET_SIGNAL_LED1,
						FACTORY_RESET_SIGNAL_LED2 } };
#endif

bool sIsNetworkProvisioned = false;
bool sIsNetworkEnabled = false;
bool sHaveBLEConnections = false;
} /* namespace */

namespace LedConsts
{
namespace StatusLed
{
	namespace Unprovisioned
	{
		constexpr uint32_t kOn_ms{ 100 };
		constexpr uint32_t kOff_ms{ kOn_ms };
	} /* namespace Unprovisioned */
	namespace Provisioned
	{
		constexpr uint32_t kOn_ms{ 50 };
		constexpr uint32_t kOff_ms{ 950 };
	} /* namespace Provisioned */

} /* namespace StatusLed */
} /* namespace LedConsts */

#ifdef CONFIG_CHIP_WIFI
app::Clusters::NetworkCommissioning::Instance
	sWiFiCommissioningInstance(0, &(NetworkCommissioning::NrfWiFiDriver::Instance()));
#endif

SCD40 AppTask::czujnik = {};
Fram AppTask::pamiec = {};
Screen_EPD_EXT3 AppTask::myScreen = {eScreen_EPD_EXT3_154};

k_timer sensorTimer;

void SensorTimerHandler(k_timer* timer) {
	AppEvent event;
	event.Type = AppEventType::SensorMeasure;
	event.Handler = AppTask::SensorMeasureHandler;
	AppTask::Instance().PostEvent(event);
}

void StartSensorTimer() {
	k_timer_start(&sensorTimer, K_SECONDS(60), K_SECONDS(60));
}

void StopSensorTimer() {
	k_timer_stop(&sensorTimer);
}

CHIP_ERROR AppTask::Init()
{
	/* Initialize CHIP stack */
	LOG_INF("Init CHIP stack");

	CHIP_ERROR err = chip::Platform::MemoryInit();
	if (err != CHIP_NO_ERROR) {
		LOG_ERR("Platform::MemoryInit() failed");
		return err;
	}

	err = PlatformMgr().InitChipStack();
	if (err != CHIP_NO_ERROR) {
		LOG_ERR("PlatformMgr().InitChipStack() failed");
		return err;
	}

	printk("Screen init\n");
	myScreen.begin();
	myScreen.clear();
	myScreen.flush();

	if(!device_is_ready(i2c_dev)) {
		printk("I2C device is not ready");
		return err;
	}

	int ret;
	ret = czujnik.scd4x_stop_periodic_measurement();
	if(ret != 0) {
		printk("Failed to stop peariodic measurements\n");
		return err;
	}

	ret = czujnik.scd4x_start_periodic_measurement();
	if(ret != 0) {
		printk("Failed to start peariodic measurements\n");
		return err;
	}

#if defined(CONFIG_NET_L2_OPENTHREAD)
	err = ThreadStackMgr().InitThreadStack();
	if (err != CHIP_NO_ERROR) {
		LOG_ERR("ThreadStackMgr().InitThreadStack() failed: %s", ErrorStr(err));
		return err;
	}

#ifdef CONFIG_OPENTHREAD_MTD_SED
	err = ConnectivityMgr().SetThreadDeviceType(ConnectivityManager::kThreadDeviceType_SleepyEndDevice);
#elif CONFIG_OPENTHREAD_MTD
	err = ConnectivityMgr().SetThreadDeviceType(ConnectivityManager::kThreadDeviceType_MinimalEndDevice);
#else
	err = ConnectivityMgr().SetThreadDeviceType(ConnectivityManager::kThreadDeviceType_Router);
#endif /* CONFIG_OPENTHREAD_MTD_SED */
	if (err != CHIP_NO_ERROR) {
		LOG_ERR("ConnectivityMgr().SetThreadDeviceType() failed: %s", ErrorStr(err));
		return err;
	}

#elif defined(CONFIG_CHIP_WIFI)
	sWiFiCommissioningInstance.Init();
#else
	return CHIP_ERROR_INTERNAL;
#endif /* CONFIG_NET_L2_OPENTHREAD */

	/* Initialize LEDs */
	LEDWidget::InitGpio();
	LEDWidget::SetStateUpdateCallback(LEDStateUpdateHandler);

	sStatusLED.Init(SYSTEM_STATE_LED);

	UpdateStatusLED();

	/* Initialize buttons */
	ret = dk_buttons_init(ButtonEventHandler);
	if (ret) {
		LOG_ERR("dk_buttons_init() failed");
		return chip::System::MapErrorZephyr(ret);
	}

	/* Initialize function timer */
	k_timer_init(&sFunctionTimer, &AppTask::FunctionTimerTimeoutCallback, nullptr);
	k_timer_user_data_set(&sFunctionTimer, this);

#ifdef CONFIG_CHIP_OTA_REQUESTOR
	/* OTA image confirmation must be done before the factory data init. */
	OtaConfirmNewImage();
#endif

	/* Initialize CHIP server */
#if CONFIG_CHIP_FACTORY_DATA
	ReturnErrorOnFailure(mFactoryDataProvider.Init());
	SetDeviceInstanceInfoProvider(&mFactoryDataProvider);
	SetDeviceAttestationCredentialsProvider(&mFactoryDataProvider);
	SetCommissionableDataProvider(&mFactoryDataProvider);
#else
	SetDeviceInstanceInfoProvider(&DeviceInstanceInfoProviderMgrImpl());
	SetDeviceAttestationCredentialsProvider(Examples::GetExampleDACProvider());
#endif

	static chip::CommonCaseDeviceServerInitParams initParams;
	(void)initParams.InitializeStaticResourcesBeforeServerInit();

	ReturnErrorOnFailure(chip::Server::GetInstance().Init(initParams));
	ConfigurationMgr().LogDeviceConfig();
	PrintOnboardingCodes(chip::RendezvousInformationFlags(chip::RendezvousInformationFlag::kBLE));
	AppFabricTableDelegate::Init();

	/*
	 * Add CHIP event handler and start CHIP thread.
	 * Note that all the initialization code should happen prior to this point to avoid data races
	 * between the main and the CHIP threads.
	 */
	PlatformMgr().AddEventHandler(ChipEventHandler, 0);

	err = PlatformMgr().StartEventLoopTask();
	if (err != CHIP_NO_ERROR) {
		LOG_ERR("PlatformMgr().StartEventLoopTask() failed");
		return err;
	}

	k_timer_init(&sensorTimer, &SensorTimerHandler, NULL);
	k_timer_user_data_set(&sensorTimer, this);
	StartSensorTimer();

	return CHIP_NO_ERROR;
}

CHIP_ERROR AppTask::StartApp()
{
	ReturnErrorOnFailure(Init());

	AppEvent event = {};

	while (true) {
		k_msgq_get(&sAppEventQueue, &event, K_FOREVER);
		DispatchEvent(event);
	}

	return CHIP_NO_ERROR;
}

void AppTask::ButtonEventHandler(uint32_t buttonState, uint32_t hasChanged)
{
	AppEvent button_event;
	button_event.Type = AppEventType::Button;

	if (FUNCTION_BUTTON_MASK & hasChanged) {
		button_event.ButtonEvent.PinNo = FUNCTION_BUTTON;
		button_event.ButtonEvent.Action =
			static_cast<uint8_t>((FUNCTION_BUTTON_MASK & buttonState) ? AppEventType::ButtonPushed :
										    AppEventType::ButtonReleased);
		button_event.Handler = FunctionHandler;
		PostEvent(button_event);
	}
	if (LIGHT_SWITCH_BUTTON_MASK & hasChanged) {
		button_event.ButtonEvent.PinNo = LIGHT_SWITCH_BUTTON;
		button_event.ButtonEvent.Action =
			static_cast<uint8_t>((LIGHT_SWITCH_BUTTON_MASK & buttonState) ? AppEventType::ButtonPushed :
										    AppEventType::ButtonReleased);
		button_event.Handler = LightSwitchHandler;
		PostEvent(button_event);
	}
}

void AppTask::FunctionTimerTimeoutCallback(k_timer *timer)
{
	if (!timer) {
		return;
	}

	AppEvent event;
	event.Type = AppEventType::Timer;
	event.TimerEvent.Context = k_timer_user_data_get(timer);
	event.Handler = FunctionTimerEventHandler;
	PostEvent(event);
}

void AppTask::FunctionTimerEventHandler(const AppEvent &)
{
	if (Instance().mFunction == FunctionEvent::FactoryReset) {
		Instance().mFunction = FunctionEvent::NoneSelected;
		LOG_INF("Factory Reset triggered");

		sStatusLED.Set(true);
		sFactoryResetLEDs.Set(true);

		chip::Server::GetInstance().ScheduleFactoryReset();
	}
}

void AppTask::FunctionHandler(const AppEvent &event)
{
	
	if (event.ButtonEvent.PinNo != FUNCTION_BUTTON)
		return;

	if (event.ButtonEvent.Action == static_cast<uint8_t>(AppEventType::ButtonPushed)) {
		Instance().StartTimer(kFactoryResetTriggerTimeout);
		Instance().mFunction = FunctionEvent::FactoryReset;
	} else if (event.ButtonEvent.Action == static_cast<uint8_t>(AppEventType::ButtonReleased)) {
		if (Instance().mFunction == FunctionEvent::FactoryReset) {
			sFactoryResetLEDs.Set(false);
			UpdateStatusLED();
			Instance().CancelTimer();
			Instance().mFunction = FunctionEvent::NoneSelected;
			LOG_INF("Factory Reset has been Canceled");
		}
	}
}

void AppTask::LEDStateUpdateHandler(LEDWidget &ledWidget)
{
	AppEvent event;
	event.Type = AppEventType::UpdateLedState;
	event.Handler = UpdateLedStateEventHandler;
	event.UpdateLedStateEvent.LedWidget = &ledWidget;
	PostEvent(event);
}

void AppTask::UpdateLedStateEventHandler(const AppEvent &event)
{
	if (event.Type == AppEventType::UpdateLedState) {
		event.UpdateLedStateEvent.LedWidget->UpdateState();
	}
}

void AppTask::UpdateStatusLED()
{
	/* Update the status LED.
	 *
	 * If IPv6 networking and service provisioned, keep the LED On constantly.
	 *
	 * If the system has BLE connection(s) uptill the stage above, THEN blink the LED at an even
	 * rate of 100ms.
	 *
	 * Otherwise, blink the LED for a very short time. */
	if (sIsNetworkProvisioned && sIsNetworkEnabled) {
		sStatusLED.Set(true);
	} else if (sHaveBLEConnections) {
		sStatusLED.Blink(LedConsts::StatusLed::Unprovisioned::kOn_ms,
				 LedConsts::StatusLed::Unprovisioned::kOff_ms);
	} else {
		sStatusLED.Blink(LedConsts::StatusLed::Provisioned::kOn_ms, LedConsts::StatusLed::Provisioned::kOff_ms);
	}
}

void AppTask::ChipEventHandler(const ChipDeviceEvent *event, intptr_t /* arg */)
{
	switch (event->Type) {
	case DeviceEventType::kCHIPoBLEAdvertisingChange:
		sHaveBLEConnections = ConnectivityMgr().NumBLEConnections() != 0;
		UpdateStatusLED();
		break;
#if defined(CONFIG_NET_L2_OPENTHREAD)
	case DeviceEventType::kDnssdInitialized:
#if CONFIG_CHIP_OTA_REQUESTOR
		InitBasicOTARequestor();
#endif /* CONFIG_CHIP_OTA_REQUESTOR */
		break;
	case DeviceEventType::kThreadStateChange:
		sIsNetworkProvisioned = ConnectivityMgr().IsThreadProvisioned();
		sIsNetworkEnabled = ConnectivityMgr().IsThreadEnabled();
#elif defined(CONFIG_CHIP_WIFI)
	case DeviceEventType::kWiFiConnectivityChange:
		sIsNetworkProvisioned = ConnectivityMgr().IsWiFiStationProvisioned();
		sIsNetworkEnabled = ConnectivityMgr().IsWiFiStationEnabled();
#if CONFIG_CHIP_OTA_REQUESTOR
		if (event->WiFiConnectivityChange.Result == kConnectivity_Established) {
			InitBasicOTARequestor();
		}
#endif /* CONFIG_CHIP_OTA_REQUESTOR */
#endif
		UpdateStatusLED();
		break;
	default:
		break;
	}
}

void AppTask::CancelTimer()
{
	k_timer_stop(&sFunctionTimer);
}

void AppTask::StartTimer(uint32_t timeoutInMs)
{
	k_timer_start(&sFunctionTimer, K_MSEC(timeoutInMs), K_NO_WAIT);
	
}

void AppTask::PostEvent(const AppEvent &event)
{
	if (k_msgq_put(&sAppEventQueue, &event, K_NO_WAIT) != 0) {
		LOG_INF("Failed to post event to app task event queue");
	}
}

void AppTask::DispatchEvent(const AppEvent &event)
{
	if (event.Handler) {
		event.Handler(event);
	} else {
		LOG_INF("Event received with no handler. Dropping event.");
	}
}

void AppTask::displayFonts(uint16_t co2, uint16_t temperature_deg_c, uint16_t humidity_percent_rh) {
	uint16_t y = 10;
	myScreen.setOrientation(3);

	myScreen.selectFont(Font_Terminal12x16);

	myScreen.gText(10, y, "CO2:", myColours.red);
	y += myScreen.characterSizeY();
	myScreen.gText(10, y, formatString("%i ppm", co2));
	y += myScreen.characterSizeY();

	myScreen.gText(10, y, "Temperature:", myColours.red);
	y += myScreen.characterSizeY();
	myScreen.gText(10, y, formatString("%i deg C", temperature_deg_c));
	y += myScreen.characterSizeY();

	myScreen.gText(10, y, "Humidity:", myColours.red);
	y += myScreen.characterSizeY();
	myScreen.gText(10, y, formatString("%i RH", humidity_percent_rh));
	y += myScreen.characterSizeY();

	myScreen.flush();
}

void AppTask::SensorActivateHandler(const AppEvent &) {
	StartSensorTimer();
}

void AppTask::SensorDeactivateHandler(const AppEvent &) {
	StopSensorTimer();
}

void AppTask::SensorMeasureHandler(const AppEvent &) {
	int ret;
	uint16_t co2, temperature_deg_c, humidity_percent_rh;
	int32_t temperature_m_deg_c, humidity_m_percent_rh;
	ret = czujnik.scd4x_read_measurement(&co2, &temperature_m_deg_c, &humidity_m_percent_rh);
	temperature_deg_c = temperature_m_deg_c/1000;
	humidity_percent_rh = humidity_m_percent_rh/1000;
	if(ret == 0) {
		printk("////////////////////////////////\n");
		printk("CO2: %d\nTemperature: %d\nHumidity: %d\n", co2, temperature_deg_c, humidity_percent_rh);
		myScreen.clear();
		displayFonts(co2, temperature_deg_c, humidity_percent_rh);
		ret = pamiec.save_sensor_data(co2, temperature_deg_c, humidity_percent_rh);
		uint16_t a, b, c;
		ret = pamiec.read_last_sensor_data(a, b, c);
		printk("Odczytanie z pamieci wartosci:\n");
		printk("CO2: %d\nTemperature: %d\nHumidity: %d\n", a, b, c);
		chip::app::Clusters::TemperatureMeasurement::Attributes::MeasuredValue::Set(1, temperature_deg_c);
		chip::app::Clusters::RelativeHumidityMeasurement::Attributes::MeasuredValue::Set(2, humidity_percent_rh);
	}
}

void AppTask::LightSwitchHandler(const AppEvent &event) {
	bool onofflight;
	if(event.ButtonEvent.Action == static_cast<uint8_t>(AppEventType::ButtonPushed)) {
		chip::app::Clusters::OnOff::Attributes::OnOff::Get(3, &onofflight);
		if(onofflight == true) {
			chip::app::Clusters::OnOff::Attributes::OnOff::Set(3, false);
			printk("turning light off\n");
		}
		else {
			chip::app::Clusters::OnOff::Attributes::OnOff::Set(3, true);
			printk("turning light on\n");
		}
	}
}
```

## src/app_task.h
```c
/*
 * Copyright (c) 2021 Nordic Semiconductor ASA
 *
 * SPDX-License-Identifier: LicenseRef-Nordic-5-Clause
 */

#pragma once

#include "app_event.h"
#include "led_widget.h"
#include "scd40.h"
#include "fram.h"
#include "EPD/PDLS_EXT3_Basic_Global.h"
#include "EPD/hV_HAL_Peripherals.h"
#include "EPD/hV_Configuration.h"

#include <platform/CHIPDeviceLayer.h>

#if CONFIG_CHIP_FACTORY_DATA
#include <platform/nrfconnect/FactoryDataProvider.h>
#else
#include <platform/nrfconnect/DeviceInstanceInfoProviderImpl.h>
#endif

struct k_timer;

class AppTask {
public:

	static AppTask &Instance()
	{
		static AppTask sAppTask;
		return sAppTask;
	};

	CHIP_ERROR StartApp();

	static void PostEvent(const AppEvent &event);

	static void SensorActivateHandler(const AppEvent &);
	static void SensorDeactivateHandler(const AppEvent &);
	static void SensorMeasureHandler(const AppEvent &);
	static void LightSwitchHandler(const AppEvent &event);

private:
	CHIP_ERROR Init();
	static SCD40 czujnik;
	static Fram pamiec;
	static Screen_EPD_EXT3 myScreen;

	void CancelTimer();
	void StartTimer(uint32_t timeoutInMs);

	static void DispatchEvent(const AppEvent &event);
	static void UpdateLedStateEventHandler(const AppEvent &event);
	static void FunctionHandler(const AppEvent &event);
	static void FunctionTimerEventHandler(const AppEvent &event);

	static void ChipEventHandler(const chip::DeviceLayer::ChipDeviceEvent *event, intptr_t arg);
	static void ButtonEventHandler(uint32_t buttonState, uint32_t hasChanged);
	static void LEDStateUpdateHandler(LEDWidget &ledWidget);
	static void FunctionTimerTimeoutCallback(k_timer *timer);
	static void UpdateStatusLED();

	static void displayFonts(uint16_t co2, uint16_t temperature_deg_c, uint16_t humidity_percent_rh);

	FunctionEvent mFunction = FunctionEvent::NoneSelected;
	bool mFunctionTimerActive = false;

#if CONFIG_CHIP_FACTORY_DATA
	chip::DeviceLayer::FactoryDataProvider<chip::DeviceLayer::InternalFlashFactoryData> mFactoryDataProvider;
#endif
};
```
